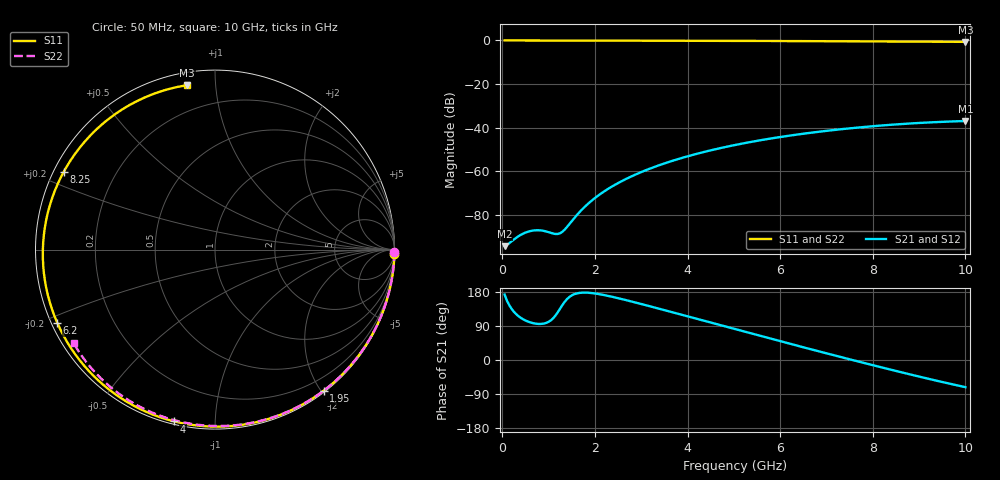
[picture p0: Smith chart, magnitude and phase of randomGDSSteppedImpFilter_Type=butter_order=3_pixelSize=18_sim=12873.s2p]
! freq	dB(S11)	phase(S11)	dB(S12)	phase(S12)
!  dB(S21)	phase(S21)	dB(S22)	phase(S22)
!S-par simulation data
#  GHz  S  DB  R 50
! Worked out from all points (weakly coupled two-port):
!   200 points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, 50 MHz to 10 GHz, reference 50 ohm
!   highest |S21| = -36.98 dB at 10 GHz (marker M1); lowest = -94.4 dB at 50 MHz (marker M2)
!   lowest |S11| = -0.6 dB at 10 GHz (marker M3), VSWR 27.16, Z = 3.15 + j42.2 ohm
!   |S11| at or under -10 dB: nowhere
!   |S22| runs from -0.5 to 0.0 dB; largest |S21 - S12| = 0
!   S11 on the Smith chart (normalised r, x): 50 MHz: 0, -83; 1.95 GHz: 0.02, -2.03; 4 GHz: 0.01, -0.79; 6.2 GHz: 0.02, -0.22; 8.25 GHz: 0.03, +0.24; 10 GHz: 0.06, +0.84
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0.05  -0.00 -1.4  -94.44 172.8  -94.44 172.8  -0.00 -0.9
0.8  -0.03 -21.9  -87.16 95.1  -87.16 95.1  -0.02 -13.5
1.6  -0.06 -43.3  -80.41 175.4  -80.41 175.4  -0.03 -26.9
1.75  -0.06 -47.2  -77.00 177.8  -77.00 177.8  -0.04 -29.3
1.95  -0.07 -52.4  -73.19 176.4  -73.19 176.4  -0.04 -32.6
2.25  -0.08 -60.2  -68.60 170.1  -68.60 170.1  -0.05 -37.5
2.6  -0.09 -69.1  -64.35 160.2  -64.35 160.2  -0.06 -43.1
3  -0.10 -79.0  -60.43 147.8  -60.43 147.8  -0.06 -49.4
3.4  -0.12 -88.9  -57.19 134.9  -57.19 134.9  -0.07 -55.7
4  -0.14 -103.3  -53.19 115.2  -53.19 115.2  -0.09 -64.9
4.5  -0.17 -115.2  -50.45 98.7  -50.45 98.7  -0.10 -72.3
5.05  -0.20 -128.1  -47.89 80.6  -47.89 80.6  -0.12 -80.4
5.65  -0.23 -142.1  -45.53 61.0  -45.53 61.0  -0.15 -88.9
6.2  -0.27 -155.1  -43.70 43.2  -43.70 43.2  -0.17 -96.6
6.7  -0.32 -167.1  -42.27 27.1  -42.27 27.1  -0.20 -103.4
7.5  -0.39 172.8  -40.35 1.9  -40.35 1.9  -0.25 -114.0
8.25  -0.47 152.8  -38.94 -21.3  -38.94 -21.3  -0.31 -123.8
8.35  -0.48 150.0  -38.78 -24.4  -38.78 -24.4  -0.32 -125.1
8.8  -0.52 137.1  -38.13 -37.9  -38.13 -37.9  -0.36 -130.9
9.25  -0.57 123.6  -37.60 -51.0  -37.60 -51.0  -0.41 -136.7
9.65  -0.61 111.0  -37.23 -62.3  -37.23 -62.3  -0.45 -141.9
10  -0.64 99.6  -36.98 -71.7  -36.98 -71.7  -0.49 -146.4
